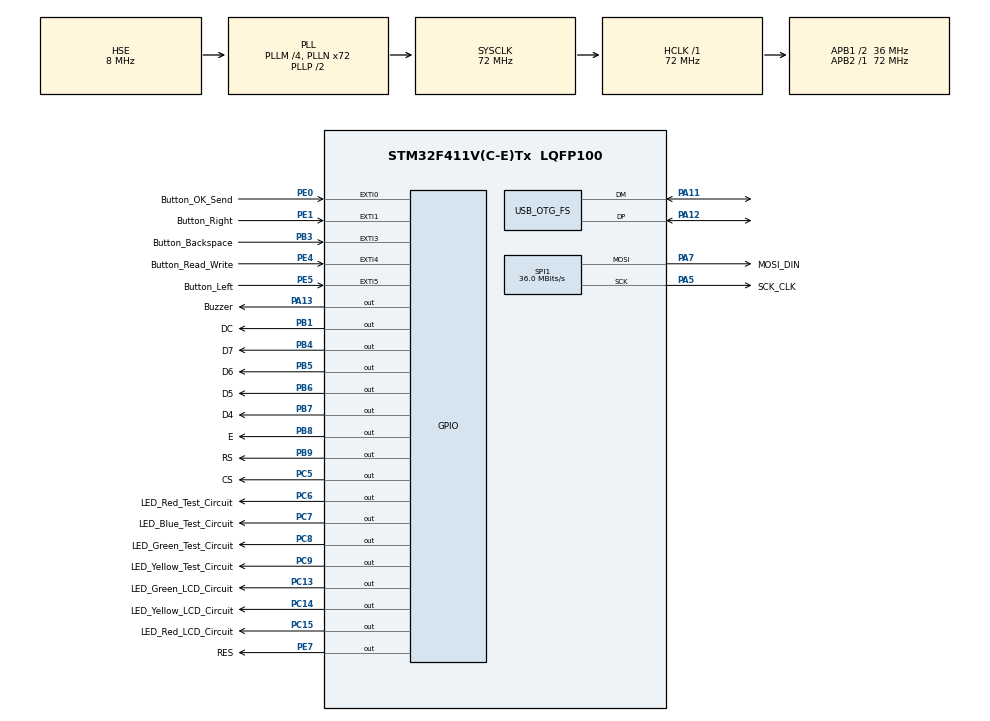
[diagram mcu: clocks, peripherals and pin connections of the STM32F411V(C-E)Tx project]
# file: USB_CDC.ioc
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Mcu.Family=STM32F4
Mcu.Name=STM32F411V(C-E)Tx
Mcu.Package=LQFP100
NVIC.EXTI0_IRQn=true\:0\:0\:false\:false\:true\:true\:true
NVIC.EXTI1_IRQn=true\:0\:0\:false\:false\:true\:true\:true
NVIC.EXTI3_IRQn=true\:0\:0\:false\:false\:true\:true\:true
NVIC.EXTI4_IRQn=true\:0\:0\:false\:false\:true\:true\:true
NVIC.EXTI9_5_IRQn=true\:0\:0\:false\:false\:true\:true\:true
NVIC.OTG_FS_IRQn=true\:0\:0\:false\:false\:true\:false\:true
NVIC.PriorityGroup=NVIC_PRIORITYGROUP_4
NVIC.TIM1_UP_TIM10_IRQn=true\:0\:0\:false\:false\:true\:true\:true
PA11.Mode=Device_Only
PA11.Signal=USB_OTG_FS_DM
PA12.Mode=Device_Only
PA12.Signal=USB_OTG_FS_DP
PA13.GPIO_Label=Buzzer
PA13.Signal=GPIO_Output
PA5.GPIO_Label=SCK_CLK
PA5.Mode=TX_Only_Simplex_Unidirect_Master
PA5.Signal=SPI1_SCK
PA7.GPIO_Label=MOSI_DIN
PA7.Mode=TX_Only_Simplex_Unidirect_Master
PA7.Signal=SPI1_MOSI
PB1.GPIO_Label=DC
PB1.Signal=GPIO_Output
PB3.GPIO_Label=Button_Backspace
PB3.GPIO_ModeDefaultEXTI=GPIO_MODE_IT_RISING_FALLING
PB3.GPIO_PuPd=GPIO_NOPULL
PB3.Signal=GPXTI3
PB4.GPIO_Label=D7
PB4.Signal=GPIO_Output
PB5.GPIO_Label=D6
PB5.Signal=GPIO_Output
PB6.GPIO_Label=D5
PB6.Signal=GPIO_Output
PB7.GPIO_Label=D4
PB7.Signal=GPIO_Output
PB8.GPIO_Label=E
PB8.Signal=GPIO_Output
PB9.GPIO_Label=RS
PB9.Signal=GPIO_Output
PC13-ANTI_TAMP.GPIO_Label=LED_Green_LCD_Circuit
PC13-ANTI_TAMP.Signal=GPIO_Output
PC14-OSC32_IN.GPIO_Label=LED_Yellow_LCD_Circuit
PC14-OSC32_IN.Signal=GPIO_Output
PC15-OSC32_OUT.GPIO_Label=LED_Red_LCD_Circuit
PC15-OSC32_OUT.Signal=GPIO_Output
PC5.GPIO_Label=CS
PC5.Signal=GPIO_Output
PC6.GPIO_Label=LED_Red_Test_Circuit
PC6.Signal=GPIO_Output
PC7.GPIO_Label=LED_Blue_Test_Circuit
PC7.Signal=GPIO_Output
PC8.GPIO_Label=LED_Green_Test_Circuit
PC8.Signal=GPIO_Output
PC9.GPIO_Label=LED_Yellow_Test_Circuit
PC9.Signal=GPIO_Output
PE0.GPIO_Label=Button_OK_Send
PE0.GPIO_ModeDefaultEXTI=GPIO_MODE_IT_RISING_FALLING
PE0.GPIO_PuPd=GPIO_NOPULL
PE0.Signal=GPXTI0
PE1.GPIO_Label=Button_Right
PE1.GPIO_ModeDefaultEXTI=GPIO_MODE_IT_RISING_FALLING
PE1.GPIO_PuPd=GPIO_NOPULL
PE1.Signal=GPXTI1
PE4.GPIO_Label=Button_Read_Write
PE4.GPIO_ModeDefaultEXTI=GPIO_MODE_IT_RISING_FALLING
PE4.Signal=GPXTI4
PE5.GPIO_Label=Button_Left
PE5.GPIO_ModeDefaultEXTI=GPIO_MODE_IT_RISING_FALLING
PE5.Signal=GPXTI5
PE7.GPIO_Label=RES
PE7.Signal=GPIO_Output
PH0\ -\ OSC_IN.Mode=HSE-External-Oscillator
PH0\ -\ OSC_IN.Signal=RCC_OSC_IN
PH1\ -\ OSC_OUT.Mode=HSE-External-Oscillator
PH1\ -\ OSC_OUT.Signal=RCC_OSC_OUT
ProjectManager.HeapSize=0x200
ProjectManager.StackSize=0x400
ProjectManager.TargetToolchain=STM32CubeIDE
RCC.48MHZClocksFreq_Value=48000000
RCC.AHBFreq_Value=72000000
RCC.APB1CLKDivider=RCC_HCLK_DIV2
RCC.APB1Freq_Value=36000000
RCC.APB1TimFreq_Value=72000000
RCC.APB2Freq_Value=72000000
RCC.APB2TimFreq_Value=72000000
RCC.CortexFreq_Value=72000000
RCC.HCLKFreq_Value=72000000
RCC.HSE_VALUE=8000000
RCC.HSI_VALUE=16000000
RCC.LSE_VALUE=32768
RCC.PLLM=4
RCC.PLLN=72
RCC.PLLQ=3
RCC.SYSCLKFreq_VALUE=72000000
RCC.SYSCLKSource=RCC_SYSCLKSOURCE_PLLCLK
RCC.VCOOutputFreq_Value=144000000
SPI1.CLKPhase=SPI_PHASE_2EDGE
SPI1.CLKPolarity=SPI_POLARITY_HIGH
SPI1.CalculateBaudRate=36.0 MBits/s
SPI1.Direction=SPI_DIRECTION_2LINES
SPI1.Mode=SPI_MODE_MASTER
SPI1.VirtualType=VM_MASTER
TIM10.Channel=TIM_CHANNEL_1
TIM10.OCMode_1=TIM_OCMODE_ACTIVE
TIM10.Period=14399
TIM10.Prescaler=9999
USB_DEVICE.CLASS_NAME_FS=CDC
USB_DEVICE.VirtualMode=Cdc
USB_DEVICE.VirtualModeFS=Cdc_FS
USB_OTG_FS.VirtualMode=Device_Only
VP_TIM10_VS_ClockSourceINT.Mode=Enable_Timer
VP_TIM10_VS_OPM.Mode=OPM_bit
VP_TIM10_VS_no_output1.Mode=Output Compare1 No Output
VP_USB_DEVICE_VS_USB_DEVICE_CDC_FS.Mode=CDC_FS
board=custom

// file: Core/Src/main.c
/* USER CODE BEGIN Header */
/**
 ******************************************************************************
 * @file           : main.c
 * @brief          : Main program body
 ******************************************************************************
 * @attention
 *
 * <h2><center>&copy; Copyright (c) 2020 STMicroelectronics.
 * All rights reserved.</center></h2>
 *
 * This software component is licensed by ST under BSD 3-Clause license,
 * the "License"; You may not use this file except in compliance with the
 * License. You may obtain a copy of the License at:
 *                        opensource.org/licenses/BSD-3-Clause
 *
 ******************************************************************************
 */
/* USER CODE END Header */
#include "main.h"
#include "usb_device.h"

/* USER CODE BEGIN Includes */
#include <string.h>
#include "usbd_cdc_if.h"	// User interface file for USB controller
#include "SSD1331.h"		// Library which handles OLED display
#include "LiquidCrystal.h"	// Library which handles 2x16 LCD display
#include "TestCircuit.h"	// Library which handles Test Circuit related actions
#include "LCDCircuit.h"		// Library which handles LCD Circuit related actions
#include "OLEDCircuit.h"	// Library which handles OLED Circuit related actions
/* USER CODE END Includes */

SPI_HandleTypeDef hspi1;	// SPI is used by the OLED display

TIM_HandleTypeDef htim10;	// Timer is used by the Green LED in LCD Circuit

/* USER CODE BEGIN PV */

// extern variables are set to their default states during circuit switch [ SwitchCircuit() function ]
extern uint8_t startScreenDisplayedFlag;
extern uint8_t endScreenDisplayedFlag;
extern uint8_t receivedTextMessages[10][33];
extern uint8_t buttonTriggerFlag;

extern enum difficultyLevel {
	easy, medium, hard
} gameDifficultyLevel;

extern GameState snakeGameState;

uint8_t dataToSend[100];		// Array containing the sent data
uint8_t messageLength = 0;		// Sent message length

uint8_t receivedData[40];		// Array containing the received data
uint8_t receivedDataFlag = 0;	// Flag is set when MCU received a data from PC

uint8_t loopContinueFlag = 0;	// Flag forces the finish of current main loop iteration

/* USER CODE END PV */

void SystemClock_Config(void);
static void MX_GPIO_Init(void);
static void MX_SPI1_Init(void);
static void MX_TIM10_Init(void);
/* USER CODE BEGIN PFP */
void ClearBuffers(void);
void SwitchCircuit(void);
void GetAllCommands(void);
/* USER CODE END PFP */

/* USER CODE BEGIN 0 */

// Clears the sent data and received data and resets the loopContinueFlag flag
void ClearBuffers(void) {

	memset(receivedData, 0, sizeof receivedData);
	memset(dataToSend, 0, sizeof dataToSend);
	loopContinueFlag = 0;

}

// Switches the used circuit (available circuits: Test, LCD, OLED)
void SwitchCircuit(void) {

	if (!strcmp(receivedData, "SWITCH CIRCUIT TEST\0")) {

		// If the Test Circuit is already activated, informs the user about it via terminal message
		// and quits the SwitchCircuit() function
		if (currentCircuit == testCircuit) {
			// Displays a message to the user terminal
			messageLength = sprintf(dataToSend, "Test Circuit is already active!\r\n");
			CDC_Transmit_FS(dataToSend, messageLength);
			return;
		}

		// Clears the LCD and OLED displays and turns off the LCD circuit' LEDs
		clear();
		noBlink();
		ssd1331_clear_screen(BLACK);
		HAL_GPIO_WritePin(LED_Red_LCD_Circuit_GPIO_Port,
				LED_Red_LCD_Circuit_Pin, GPIO_PIN_RESET);
		HAL_GPIO_WritePin(LED_Yellow_LCD_Circuit_GPIO_Port,
				LED_Yellow_LCD_Circuit_Pin, GPIO_PIN_RESET);
		HAL_GPIO_WritePin(LED_Green_LCD_Circuit_GPIO_Port,
				LED_Green_LCD_Circuit_Pin, GPIO_PIN_RESET);

		currentCircuit = testCircuit;

		// Displays a message to the user terminal
		messageLength = sprintf(dataToSend, "Switched to the Test Circuit!\r\n");
		CDC_Transmit_FS(dataToSend, messageLength);

		// Finishes the main loop iteration
		loopContinueFlag = 1;
		return;

	} else if (!strcmp(receivedData, "SWITCH CIRCUIT LCD\0")) {

		// If the Test Circuit is already activated, informs the user about it via terminal message
		// and quits the SwitchCircuit() function
		if (currentCircuit == LCDCircuit) {
			// Displays a message to the user terminal
			messageLength = sprintf(dataToSend, "LCD Circuit is already active!\r\n");
			CDC_Transmit_FS(dataToSend, messageLength);
			return;
		}

		// Clears the OLED display and turns off the test circuit' LEDs and buzzer
		ssd1331_clear_screen(BLACK);
		HAL_GPIO_WritePin(LED_Red_Test_Circuit_GPIO_Port,
		LED_Red_Test_Circuit_Pin, GPIO_PIN_RESET);
		HAL_GPIO_WritePin(LED_Blue_Test_Circuit_GPIO_Port,
		LED_Blue_Test_Circuit_Pin, GPIO_PIN_RESET);
		HAL_GPIO_WritePin(LED_Green_Test_Circuit_GPIO_Port,
		LED_Green_Test_Circuit_Pin, GPIO_PIN_RESET);
		HAL_GPIO_WritePin(LED_Yellow_Test_Circuit_GPIO_Port,
		LED_Yellow_Test_Circuit_Pin, GPIO_PIN_RESET);
		HAL_GPIO_WritePin(Buzzer_GPIO_Port, Buzzer_Pin,
				GPIO_PIN_RESET);

		// Clears the received messages array
		memset(receivedTextMessages, 0,
				sizeof receivedTextMessages);

		currentCircuit = LCDCircuit;

		// Displays the welcome message
		setCursor(0, 0);
		print("Welcome to the");
		setCursor(0, 1);
		print("USB comm device!");

		// Displays a message to the user terminal
		messageLength = sprintf(dataToSend, "Switched to the LCD Circuit!\r\n");
		CDC_Transmit_FS(dataToSend, messageLength);

		// Finishes the main loop iteration
		loopContinueFlag = 1;
		return;

	} else if (!strcmp(receivedData, "SWITCH CIRCUIT OLED\0")) {

		// If the Test Circuit is already activated, informs the user about it via terminal message
		// and quits the SwitchCircuit() function
		if (currentCircuit == OLEDCircuit) {
			// Displays a message to the user terminal
			messageLength = sprintf(dataToSend, "OLED Circuit is already active!\r\n");
			CDC_Transmit_FS(dataToSend, messageLength);
			return;
		}

		// Clears the LCD display and turns off the LCD circuit LEDs along with the test circuit' LEDs and buzzer
		clear();
		noBlink();
		HAL_GPIO_WritePin(LED_Red_LCD_Circuit_GPIO_Port,
						LED_Red_LCD_Circuit_Pin, GPIO_PIN_RESET);
		HAL_GPIO_WritePin(LED_Yellow_LCD_Circuit_GPIO_Port,
						LED_Yellow_LCD_Circuit_Pin, GPIO_PIN_RESET);
		HAL_GPIO_WritePin(LED_Green_LCD_Circuit_GPIO_Port,
						LED_Green_LCD_Circuit_Pin, GPIO_PIN_RESET);
		HAL_GPIO_WritePin(LED_Red_Test_Circuit_GPIO_Port,
				LED_Red_Test_Circuit_Pin, GPIO_PIN_RESET);
		HAL_GPIO_WritePin(LED_Blue_Test_Circuit_GPIO_Port,
				LED_Blue_Test_Circuit_Pin, GPIO_PIN_RESET);
		HAL_GPIO_WritePin(LED_Green_Test_Circuit_GPIO_Port,
				LED_Green_Test_Circuit_Pin, GPIO_PIN_RESET);
		HAL_GPIO_WritePin(LED_Yellow_Test_Circuit_GPIO_Port,
				LED_Yellow_Test_Circuit_Pin, GPIO_PIN_RESET);
		HAL_GPIO_WritePin(Buzzer_GPIO_Port, Buzzer_Pin,
						GPIO_PIN_RESET);

		// Resets the OLED circuit variables to their default states
		currentCircuit = OLEDCircuit;
		startScreenDisplayedFlag = 0;
		endScreenDisplayedFlag = 0;
		gameDifficultyLevel = easy;
		snakeGameState = startGameScreen;

		// Clears the OLED display
		ssd1331_clear_screen(BLACK);

		// Displays a message to the user terminal
		messageLength = sprintf(dataToSend, "Switched to the OLED Circuit!\r\n");
		CDC_Transmit_FS(dataToSend, messageLength);

		// Finishes the main loop iteration
		loopContinueFlag = 1;
		return;

	}

	else {

		// Displays a message to the user terminal
		messageLength = sprintf(dataToSend, "Incorrect command.\r\n");
		CDC_Transmit_FS(dataToSend, messageLength);

		// Finishes the main loop iteration
		loopContinueFlag = 1;
		return;
	}

}

void GetAllCommands(void) {

	if (!strcmp(receivedData, "GET ALL COMMANDS\0")) {

		// Displays a message to the user terminal. The message contains all available commands along with their descriptions. Delays are added to not transfer a few messages in one data buffer.
		messageLength = sprintf(dataToSend, "Commands available in the Test Circuit:\r\n");
		CDC_Transmit_FS(dataToSend, messageLength);
		HAL_Delay(1);
		messageLength = sprintf(dataToSend, "\r\n");
		CDC_Transmit_FS(dataToSend, messageLength);
		HAL_Delay(1);
		messageLength = sprintf(dataToSend, "RED LED OFF / RED LED ON - switch the red LED off/on.\r\n");
		CDC_Transmit_FS(dataToSend, messageLength);
		HAL_Delay(1);
		messageLength = sprintf(dataToSend, "BLUE LED OFF / BLUE LED ON - switch the blue LED off/on.\r\n");
		CDC_Transmit_FS(dataToSend, messageLength);
		HAL_Delay(1);
		messageLength = sprintf(dataToSend, "GREEN LED OFF / GREEN LED ON - switch the green LED off/on.\r\n");
		CDC_Transmit_FS(dataToSend, messageLength);
		HAL_Delay(1);
		messageLength = sprintf(dataToSend, "YELLOW LED OFF / YELLOW LED ON - switch the yellow LED off/on.\r\n");
		CDC_Transmit_FS(dataToSend, messageLength);
		HAL_Delay(1);
		messageLength = sprintf(dataToSend, "ALARM OFF / ALARM ON - turn the buzzer off/on.\r\n");
		CDC_Transmit_FS(dataToSend, messageLength);
		HAL_Delay(1);
		messageLength = sprintf(dataToSend, "\r\n");
		CDC_Transmit_FS(dataToSend, messageLength);
		HAL_Delay(1);
		messageLength = sprintf(dataToSend, "Commands available in the LCD Circuit:\r\n");
		CDC_Transmit_FS(dataToSend, messageLength);
		HAL_Delay(1);
		messageLength = sprintf(dataToSend, "\r\n");
		CDC_Transmit_FS(dataToSend, messageLength);
		HAL_Delay(1);
		messageLength = sprintf(dataToSend, "SEND '[message]' - sends [message] message to LCD circuit.\r\n");
		CDC_Transmit_FS(dataToSend, messageLength);
		HAL_Delay(1);
		messageLength = sprintf(dataToSend, "The message must be up to 32 characters long and needs to be put between single quotation marks.\r\n");
		CDC_Transmit_FS(dataToSend, messageLength);
		HAL_Delay(1);
		messageLength = sprintf(dataToSend, "Any message that doesn't follow strict convention (SEND '[up_to_32_char_long_message]') will be discarded.\r\n");
		CDC_Transmit_FS(dataToSend, messageLength);
		HAL_Delay(1);
		messageLength = sprintf(dataToSend, "\r\n");
		CDC_Transmit_FS(dataToSend, messageLength);
		HAL_Delay(1);
		messageLength = sprintf(dataToSend, "Commands available in the OLED Circuit:\r\n");
		CDC_Transmit_FS(dataToSend, messageLength);
		HAL_Delay(1);
		messageLength = sprintf(dataToSend, "\r\n");
		CDC_Transmit_FS(dataToSend, messageLength);
		HAL_Delay(1);
		messageLength = sprintf(dataToSend, "START - starts the game (works only if currently in start game screen or end game screen.\r\n");
		CDC_Transmit_FS(dataToSend, messageLength);
		HAL_Delay(1);
		messageLength = sprintf(dataToSend, "w - changes the snake move direction to up (work only if currently in game)\r\n");
		CDC_Transmit_FS(dataToSend, messageLength);
		HAL_Delay(1);
		messageLength = sprintf(dataToSend, "a - changes the snake move direction to left (work only if currently in game)\r\n");
		CDC_Transmit_FS(dataToSend, messageLength);
		HAL_Delay(1);
		messageLength = sprintf(dataToSend, "s - changes the snake move direction to down (work only if currently in game)\r\n");
		CDC_Transmit_FS(dataToSend, messageLength);
		HAL_Delay(1);
		messageLength = sprintf(dataToSend, "d - changes the snake move direction to right (work only if currently in game)\r\n");
		CDC_Transmit_FS(dataToSend, messageLength);
		HAL_Delay(1);

		// Finishes the main loop iteration
		loopContinueFlag = 1;
		return;
	}

	else {
		// Displays a message to the user terminal.
		messageLength = sprintf(dataToSend, "Incorrect command.\r\n");
		CDC_Transmit_FS(dataToSend, messageLength);

		// Finishes the main loop iteration
		loopContinueFlag = 1;
		return;
	}

}

/* USER CODE END 0 */

int main(void)
{

  /* MCU Configuration--------------------------------------------------------*/

  /* Reset of all peripherals, Initializes the Flash interface and the Systick. */
	HAL_Init();

  /* Configure the system clock */
	SystemClock_Config();

  /* USER CODE BEGIN SysInit */
	srand(time(NULL));
  /* USER CODE END SysInit */

  /* Initialize all configured peripherals */
	MX_GPIO_Init();
	MX_USB_DEVICE_Init();
	MX_SPI1_Init();
	MX_TIM10_Init();
  /* USER CODE BEGIN 2 */

	// Sets up Timer in one-pulse mode
	HAL_TIM_Base_Start_IT(&htim10);
	HAL_TIM_OnePulse_Start_IT(&htim10, TIM_CHANNEL_1);

	// Initializes the OLED display
	ssd1331_init();
	ssd1331_clear_screen(BLACK);

	// Initializes the LCD display
	LiquidCrystal(GPIOB, GPIO_PIN_9, GPIO_PIN_12, GPIO_PIN_8, GPIO_PIN_7,
					GPIO_PIN_6, GPIO_PIN_5, GPIO_PIN_4);
  /* USER CODE END 2 */

  /* Infinite loop */
  /* USER CODE BEGIN WHILE */
	while (1) {

		// Checks if a button was pressed (does nothing if the circuit is set to Test or OLED)
		if (buttonTriggerFlag) {
			ButtonTrigger();
		}

		// Skips further main loop execution in this iteration to save time
		if (loopContinueFlag) { ClearBuffers(); continue; }

		// Performs an operation on the OLED display, if it's active
		if (currentCircuit == OLEDCircuit) {
			OLEDCircuitAction();
		}

		// Skips further main loop execution in this iteration to save time
		if (loopContinueFlag) { ClearBuffers(); continue; }

		// If some data was received from the PC
		if (receivedDataFlag == 1) {

			// Resets the flag
			receivedDataFlag = 0;

			// If the message seems to switch the circuit (further string check is evaluated later)
			if (strstr(receivedData, "SWITCH CIRCUIT")) {

				// Switches the circuit
				SwitchCircuit();

				// Skips further main loop execution in this iteration to save time
				if (loopContinueFlag) { ClearBuffers(); continue; }

			}

			else if (currentCircuit == testCircuit) {

				// Handles the Test Circuit command (or rejects it if it's incorrect)
				TestCircuitCommandHandler();

				// Skips further main loop execution in this iteration to save time
				if (loopContinueFlag) { ClearBuffers(); continue; }

			}

			else if (currentCircuit == LCDCircuit) {

				// Handles the LCD Circuit command (or rejects it if it's incorrect)
				LCDCircuitCommandHandler();

				// Skips further main loop execution in this iteration to save time
				if (loopContinueFlag) { ClearBuffers(); continue; }

			}

			else if (currentCircuit == OLEDCircuit) {

				// Handles the OLED Circuit command (or rejects it if it's incorrect)
				OLEDCircuitCommandHandler();

				// Skips further main loop execution in this iteration to save time
				if (loopContinueFlag) { ClearBuffers(); continue; }

			}

			// Checks for the "GET ALL COMMANDS" command and executes it, if it matches
			GetAllCommands();

			// Skips further main loop execution in this iteration to save time
			if (loopContinueFlag) { ClearBuffers(); continue; }

		}

	}
}
    /* USER CODE END WHILE */

void SystemClock_Config(void)
{
  RCC_OscInitTypeDef RCC_OscInitStruct = {0};
  RCC_ClkInitTypeDef RCC_ClkInitStruct = {0};

  /** Configure the main internal regulator output voltage
  */
  __HAL_RCC_PWR_CLK_ENABLE();
  __HAL_PWR_VOLTAGESCALING_CONFIG(PWR_REGULATOR_VOLTAGE_SCALE1);
  /** Initializes the RCC Oscillators according to the specified parameters
  * in the RCC_OscInitTypeDef structure.
  */
  RCC_OscInitStruct.OscillatorType = RCC_OSCILLATORTYPE_HSE;
  RCC_OscInitStruct.HSEState = RCC_HSE_ON;
  RCC_OscInitStruct.PLL.PLLState = RCC_PLL_ON;
  RCC_OscInitStruct.PLL.PLLSource = RCC_PLLSOURCE_HSE;
  RCC_OscInitStruct.PLL.PLLM = 4;
  RCC_OscInitStruct.PLL.PLLN = 72;
  RCC_OscInitStruct.PLL.PLLP = RCC_PLLP_DIV2;
  RCC_OscInitStruct.PLL.PLLQ = 3;
  if (HAL_RCC_OscConfig(&RCC_OscInitStruct) != HAL_OK)
  {
    Error_Handler();
  }
  /** Initializes the CPU, AHB and APB buses clocks
  */
  RCC_ClkInitStruct.ClockType = RCC_CLOCKTYPE_HCLK|RCC_CLOCKTYPE_SYSCLK
                              |RCC_CLOCKTYPE_PCLK1|RCC_CLOCKTYPE_PCLK2;
  RCC_ClkInitStruct.SYSCLKSource = RCC_SYSCLKSOURCE_PLLCLK;
  RCC_ClkInitStruct.AHBCLKDivider = RCC_SYSCLK_DIV1;
  RCC_ClkInitStruct.APB1CLKDivider = RCC_HCLK_DIV2;
  RCC_ClkInitStruct.APB2CLKDivider = RCC_HCLK_DIV1;

  if (HAL_RCC_ClockConfig(&RCC_ClkInitStruct, FLASH_LATENCY_2) != HAL_OK)
  {
    Error_Handler();
  }
}

static void MX_SPI1_Init(void)
{

  /* SPI1 parameter configuration*/
  hspi1.Instance = SPI1;
  hspi1.Init.Mode = SPI_MODE_MASTER;
  hspi1.Init.Direction = SPI_DIRECTION_2LINES;
  hspi1.Init.DataSize = SPI_DATASIZE_8BIT;
  hspi1.Init.CLKPolarity = SPI_POLARITY_HIGH;
  hspi1.Init.CLKPhase = SPI_PHASE_2EDGE;
  hspi1.Init.NSS = SPI_NSS_SOFT;
  hspi1.Init.BaudRatePrescaler = SPI_BAUDRATEPRESCALER_2;
  hspi1.Init.FirstBit = SPI_FIRSTBIT_MSB;
  hspi1.Init.TIMode = SPI_TIMODE_DISABLE;
  hspi1.Init.CRCCalculation = SPI_CRCCALCULATION_DISABLE;
  hspi1.Init.CRCPolynomial = 10;
  if (HAL_SPI_Init(&hspi1) != HAL_OK)
  {
    Error_Handler();
  }

}

static void MX_TIM10_Init(void)
{

  TIM_OC_InitTypeDef sConfigOC = {0};

  htim10.Instance = TIM10;
  htim10.Init.Prescaler = 9999;
  htim10.Init.CounterMode = TIM_COUNTERMODE_UP;
  htim10.Init.Period = 14399;
  htim10.Init.ClockDivision = TIM_CLOCKDIVISION_DIV1;
  htim10.Init.AutoReloadPreload = TIM_AUTORELOAD_PRELOAD_DISABLE;
  if (HAL_TIM_Base_Init(&htim10) != HAL_OK)
  {
    Error_Handler();
  }
  if (HAL_TIM_OC_Init(&htim10) != HAL_OK)
  {
    Error_Handler();
  }
  if (HAL_TIM_OnePulse_Init(&htim10, TIM_OPMODE_SINGLE) != HAL_OK)
  {
    Error_Handler();
  }
  sConfigOC.OCMode = TIM_OCMODE_ACTIVE;
  sConfigOC.Pulse = 0;
  sConfigOC.OCPolarity = TIM_OCPOLARITY_HIGH;
  sConfigOC.OCFastMode = TIM_OCFAST_DISABLE;
  if (HAL_TIM_OC_ConfigChannel(&htim10, &sConfigOC, TIM_CHANNEL_1) != HAL_OK)
  {
    Error_Handler();
  }

}

static void MX_GPIO_Init(void)
{
  GPIO_InitTypeDef GPIO_InitStruct = {0};

  /* GPIO Ports Clock Enable */
  __HAL_RCC_GPIOE_CLK_ENABLE();
  __HAL_RCC_GPIOC_CLK_ENABLE();
  __HAL_RCC_GPIOH_CLK_ENABLE();
  __HAL_RCC_GPIOA_CLK_ENABLE();
  __HAL_RCC_GPIOB_CLK_ENABLE();

  /*Configure GPIO pin Output Level */
  HAL_GPIO_WritePin(GPIOC, LED_Green_LCD_Circuit_Pin|LED_Yellow_LCD_Circuit_Pin|LED_Red_LCD_Circuit_Pin|CS_Pin
                          |LED_Red_Test_Circuit_Pin|LED_Blue_Test_Circuit_Pin|LED_Green_Test_Circuit_Pin|LED_Yellow_Test_Circuit_Pin, GPIO_PIN_RESET);

  /*Configure GPIO pin Output Level */
  HAL_GPIO_WritePin(GPIOB, DC_Pin|D7_Pin|D6_Pin|D5_Pin
                          |D4_Pin|E_Pin|RS_Pin, GPIO_PIN_RESET);

  /*Configure GPIO pin Output Level */
  HAL_GPIO_WritePin(RES_GPIO_Port, RES_Pin, GPIO_PIN_RESET);

  /*Configure GPIO pin Output Level */
  HAL_GPIO_WritePin(Buzzer_GPIO_Port, Buzzer_Pin, GPIO_PIN_RESET);

  /*Configure GPIO pins : Button_Read_Write_Pin Button_Left_Pin Button_OK_Send_Pin Button_Right_Pin */
  GPIO_InitStruct.Pin = Button_Read_Write_Pin|Button_Left_Pin|Button_OK_Send_Pin|Button_Right_Pin;
  GPIO_InitStruct.Mode = GPIO_MODE_IT_RISING_FALLING;
  GPIO_InitStruct.Pull = GPIO_NOPULL;
  HAL_GPIO_Init(GPIOE, &GPIO_InitStruct);

  /*Configure GPIO pins : LED_Green_LCD_Circuit_Pin LED_Yellow_LCD_Circuit_Pin LED_Red_LCD_Circuit_Pin CS_Pin
                           LED_Red_Test_Circuit_Pin LED_Blue_Test_Circuit_Pin LED_Green_Test_Circuit_Pin LED_Yellow_Test_Circuit_Pin */
  GPIO_InitStruct.Pin = LED_Green_LCD_Circuit_Pin|LED_Yellow_LCD_Circuit_Pin|LED_Red_LCD_Circuit_Pin|CS_Pin
                          |LED_Red_Test_Circuit_Pin|LED_Blue_Test_Circuit_Pin|LED_Green_Test_Circuit_Pin|LED_Yellow_Test_Circuit_Pin;
  GPIO_InitStruct.Mode = GPIO_MODE_OUTPUT_PP;
  GPIO_InitStruct.Pull = GPIO_NOPULL;
  GPIO_InitStruct.Speed = GPIO_SPEED_FREQ_LOW;
  HAL_GPIO_Init(GPIOC, &GPIO_InitStruct);

  /*Configure GPIO pins : DC_Pin D7_Pin D6_Pin D5_Pin
                           D4_Pin E_Pin RS_Pin */
  GPIO_InitStruct.Pin = DC_Pin|D7_Pin|D6_Pin|D5_Pin
                          |D4_Pin|E_Pin|RS_Pin;
  GPIO_InitStruct.Mode = GPIO_MODE_OUTPUT_PP;
  GPIO_InitStruct.Pull = GPIO_NOPULL;
  GPIO_InitStruct.Speed = GPIO_SPEED_FREQ_LOW;
  HAL_GPIO_Init(GPIOB, &GPIO_InitStruct);

  /*Configure GPIO pin : RES_Pin */
  GPIO_InitStruct.Pin = RES_Pin;
  GPIO_InitStruct.Mode = GPIO_MODE_OUTPUT_PP;
  GPIO_InitStruct.Pull = GPIO_NOPULL;
  GPIO_InitStruct.Speed = GPIO_SPEED_FREQ_LOW;
  HAL_GPIO_Init(RES_GPIO_Port, &GPIO_InitStruct);

  /*Configure GPIO pin : Buzzer_Pin */
  GPIO_InitStruct.Pin = Buzzer_Pin;
  GPIO_InitStruct.Mode = GPIO_MODE_OUTPUT_PP;
  GPIO_InitStruct.Pull = GPIO_NOPULL;
  GPIO_InitStruct.Speed = GPIO_SPEED_FREQ_LOW;
  HAL_GPIO_Init(Buzzer_GPIO_Port, &GPIO_InitStruct);

  /*Configure GPIO pin : Button_Backspace_Pin */
  GPIO_InitStruct.Pin = Button_Backspace_Pin;
  GPIO_InitStruct.Mode = GPIO_MODE_IT_RISING_FALLING;
  GPIO_InitStruct.Pull = GPIO_NOPULL;
  HAL_GPIO_Init(Button_Backspace_GPIO_Port, &GPIO_InitStruct);

  /* EXTI interrupt init*/
  HAL_NVIC_SetPriority(EXTI0_IRQn, 0, 0);
  HAL_NVIC_EnableIRQ(EXTI0_IRQn);

  HAL_NVIC_SetPriority(EXTI1_IRQn, 0, 0);
  HAL_NVIC_EnableIRQ(EXTI1_IRQn);

  HAL_NVIC_SetPriority(EXTI3_IRQn, 0, 0);
  HAL_NVIC_EnableIRQ(EXTI3_IRQn);

  HAL_NVIC_SetPriority(EXTI4_IRQn, 0, 0);
  HAL_NVIC_EnableIRQ(EXTI4_IRQn);

  HAL_NVIC_SetPriority(EXTI9_5_IRQn, 0, 0);
  HAL_NVIC_EnableIRQ(EXTI9_5_IRQn);

}

void Error_Handler(void)
{
}

/************************ (C) COPYRIGHT STMicroelectronics *****END OF FILE****/
